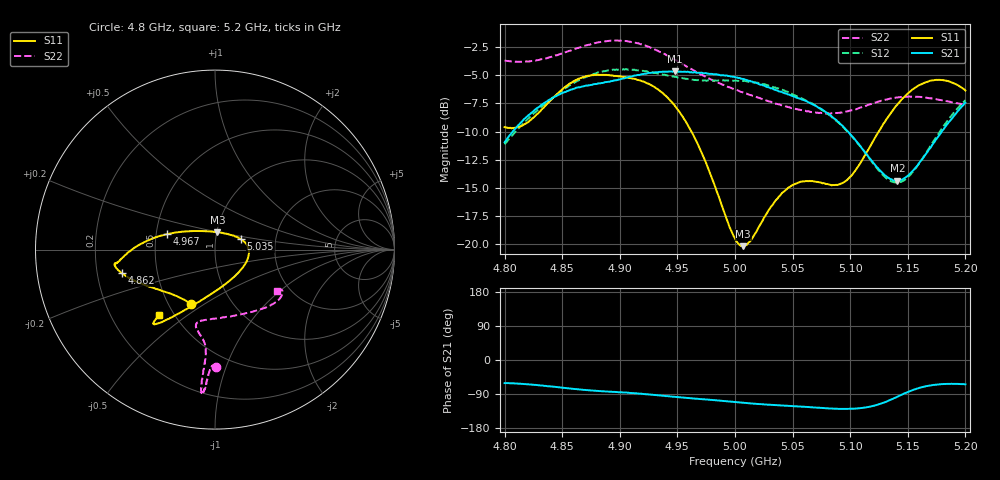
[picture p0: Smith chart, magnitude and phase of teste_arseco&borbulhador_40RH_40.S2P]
! Network Analyzer HP8722D
! Hewlett-Packard
! Data name: Linha & Wilkinson
! Saver's name: Rodrigo Anjos
! Comments: Teste da utilização de aquisição
! continua pelo VNA HP8722D
! Time and date: 15/4/2025 16:41
!  Frequency  S11  S21  S12  S22
# HZ  S  MA R 50
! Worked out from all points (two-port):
!   401 points, 4.8 GHz to 5.2 GHz, reference 50 ohm
!   highest |S21| = -4.64 dB at 4.948 GHz (marker M1); lowest = -14.4 dB at 5.141 GHz (marker M2)
!   |S21| within 3 dB of the highest: 4.832 GHz to 5.069 GHz (236.9 MHz wide, 4.79 % of centre); 5.198192 GHz to end of sweep
!   lowest |S11| = -20.2 dB at 5.007 GHz (marker M3), VSWR 1.22, Z = 50.3 + j9.84 ohm
!   |S11| at or under -10 dB: 4.962 GHz to 5.125 GHz (162.6 MHz wide, 3.22 % of centre)
!   |S22| runs from -8.4 to -1.9 dB; largest |S21 - S12| = 0.88
!   S11 on the Smith chart (normalised r, x): 4.8 GHz: 0.65, -0.44; 4.862 GHz: 0.31, -0.11; 4.967 GHz: 0.57, +0.11; 5.035 GHz: 1.32, +0.16; 5.2 GHz: 0.41, -0.39
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4.8e9  0.3309 -114.0  0.2833 -61.0  0.2776 -175.1  0.6542 -89.5
4.819e9  0.3451 -133.7  0.367 -63.9  0.3546 -173.3  0.649 -91.2
4.862e9  0.5365 -165.9  0.4954 -76.7  0.5275 -176.6  0.7402 -93.6
4.867e9  0.5494 -167.7  0.5015 -78.3  0.5428 -177.5  0.7536 -93.8
4.9e9  0.5566 -172.2  0.5394 -85.0  0.5979 175.7  0.8032 -95.1
4.934e9  0.4832 -178.2  0.5826 -93.4  0.5721 171.7  0.7181 -95.7
4.948e9  0.4099 175.2  0.5862 -97.5  0.5533 172.0  0.659 -95.3
4.967e9  0.2828 162.4  0.5773 -102.1  0.5354 173.9  0.5789 -95.1
5e9  0.1059 106.5  0.5521 -111.1  0.5331 176.5  0.4864 -99.3
5.007e9  0.09769 82.4  0.5423 -112.8  0.5306 176.5  0.4722 -101.0
5.014e9  0.1041 60.2  0.5284 -114.7  0.5253 175.9  0.4592 -102.6
5.035e9  0.1553 22.3  0.4848 -119.0  0.4966 174.9  0.4212 -103.9
5.05e9  0.1829 6.6  0.455 -121.6  0.4625 174.4  0.4023 -100.3
5.067e9  0.1905 -11.8  0.4192 -124.7  0.4216 174.1  0.3859 -91.7
5.086e9  0.1827 -42.4  0.362 -128.3  0.3599 173.9  0.3811 -77.6
5.097e9  0.1917 -65.4  0.3196 -129.0  0.3185 174.5  0.3886 -68.4
5.134e9  0.3744 -116.4  0.1955 -106.5  0.1921 -159.2  0.4422 -43.4
5.141e9  0.4169 -120.3  0.1911 -96.7  0.1875 -148.2  0.4482 -40.2
5.153e9  0.4816 -125.1  0.2078 -80.6  0.2051 -129.8  0.4525 -35.9
5.17e9  0.5328 -128.8  0.269 -66.8  0.2745 -112.9  0.4447 -32.1
5.185e9  0.5303 -130.1  0.3444 -63.1  0.3565 -107.0  0.4307 -31.2
5.2e9  0.4815 -130.5  0.4248 -64.2  0.4362 -106.2  0.4157 -33.5
